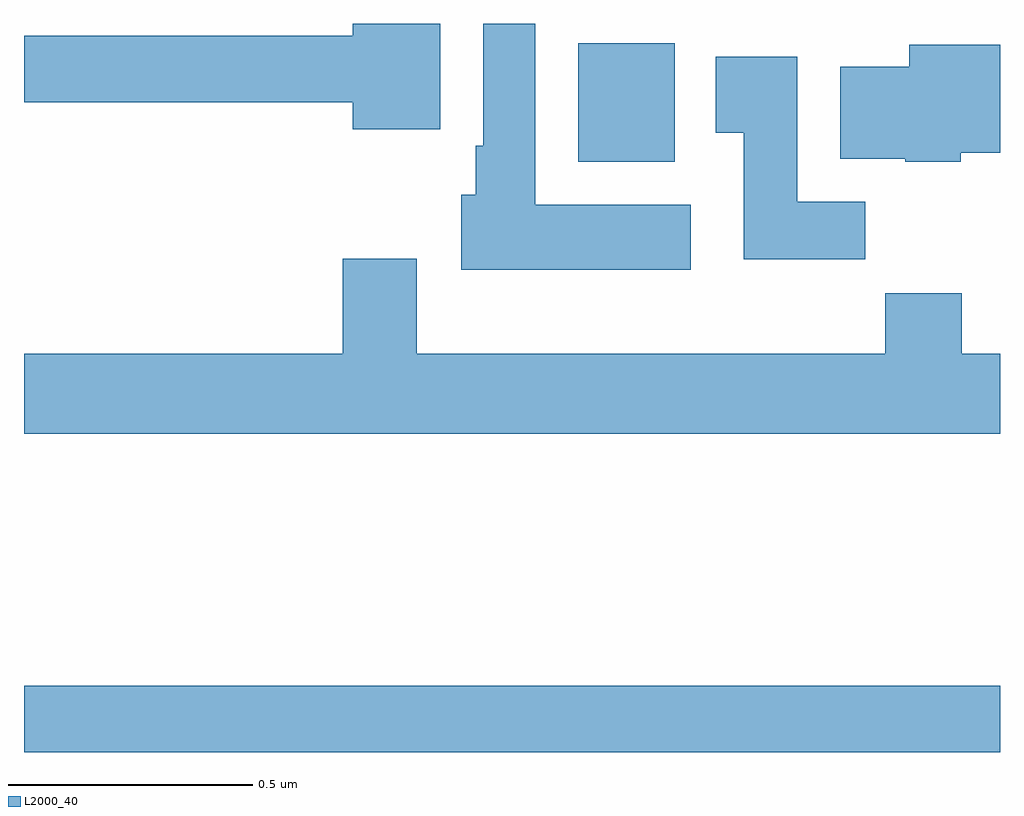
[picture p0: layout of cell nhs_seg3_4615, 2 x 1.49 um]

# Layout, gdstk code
import gdstk
lib = gdstk.Library(unit=1e-6, precision=1e-09)
def R(c, l, rs):  # rectangles x0, y0, x1, y1
    for r in rs: c.add(gdstk.rectangle(r[:2], r[2:], *l))
def P(c, l, *ps):  # polygons
    for p in ps: c.add(gdstk.Polygon(p, *l))
L2000_40 = (2000, 40)

nhs_seg3_4615 = lib.new_cell('nhs_seg3_4615')
R(nhs_seg3_4615, L2000_40, [(168,722.908,170,723.044), (169.136,724.118,169.333,724.36)])
P(nhs_seg3_4615, L2000_40, [(168.853,724.4),(168.674,724.4),(168.674,724.376),(168,724.376),(168,724.24),(168.674,724.24),(168.674,724.184),(168.853,724.184)],
  [(169.366,724.03),(169.048,724.03),(169.048,724.4),(168.941,724.4),(168.941,724.15),(168.926,724.15),(168.926,724.05),(168.896,724.05),(168.896,723.896),(169.366,723.896)],
  [(169.92,724.136),(170,724.136),(170,724.357),(169.814,724.357),(169.814,724.312),(169.673,724.312),(169.673,724.124),(169.806,724.124),(169.806,724.118),(169.92,724.118)],
  [(169.724,724.036),(169.585,724.036),(169.585,724.333),(169.418,724.333),(169.418,724.177),(169.475,724.177),(169.475,723.918),(169.724,723.918)],
  [(170,723.724),(169.922,723.724),(169.922,723.848),(169.765,723.848),(169.765,723.724),(168.805,723.724),(168.805,723.919),(168.653,723.919),(168.653,723.724),(168,723.724),(168,723.56),(170,723.56)])

lib.write_gds('nhs_seg3_4615.gds')
